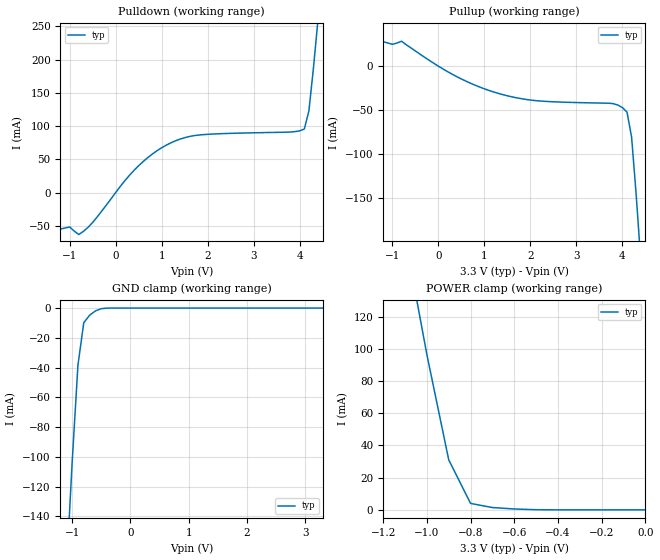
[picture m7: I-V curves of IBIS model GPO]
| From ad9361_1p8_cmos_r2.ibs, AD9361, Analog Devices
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[MODEL] GPO
Model_type 3-state
Polarity Non-Inverting
Cref  =   3.000pF
Rref  =   330Ohm
Vref  =   3.3V
Vmeas =   3.0V
|GPOs are 3.3v only
|   typ   min   max
C_comp   3.000pF   NA   NA
[Voltage Range]   3.300V  NA   NA
[GND Clamp Reference]   0.000V  NA   NA
[POWER Clamp Reference] 3.300V  NA   NA
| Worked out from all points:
|   slope of the pulldown table from 0 to 0.495 V, typ, clamps not added: 12.4 ohm
|   slope of the pullup table from 0 to 0.495 V, typ, clamps not added: 34.3 ohm
|   GND clamp passes 1 mA (typ) near -0.54 V on its own axis
|   POWER clamp passes 1 mA (typ) near -0.65 V on its own axis
[GND Clamp]
| Voltage  I(typ)   I(min)  I(max)
-3.3V     -1.993A    NA         NA
-1.1V     -178.9mA   NA         NA
-1V       -104.3mA   NA         NA
-900mV    -38.43mA   NA         NA
-800mV    -9.876mA   NA         NA
-700mV    -4.829mA   NA         NA
-600mV    -1.924mA   NA         NA
-500mV    -406.8uA   NA         NA
-400mV    -28.84uA   NA         NA
3.3V      30pA       NA         NA
[POWER Clamp]
| Voltage  I(typ)   I(min)  I(max)
-3.3V     1.951A     NA         NA
-1.1V     169.6mA    NA         NA
-1V       96.35mA    NA         NA
-900mV    31.02mA    NA         NA
-800mV    3.979mA    NA         NA
-700mV    1.433mA    NA         NA
-600mV    540.9uA    NA         NA
0V        30pA       NA         NA
[Pulldown]
| Voltage   I(typ)   I(min)   I(max)
-3.3V     -54.91mA   NA         NA
-2V       -60.03mA   NA         NA
-1V       -51.72mA   NA         NA
-800mV    -63.16mA   NA         NA
-500mV    -44.96mA   NA         NA
500mV     40.41mA    NA         NA
1.2V      74.82mA    NA         NA
1.8V      86.51mA    NA         NA
4.1V      95.62mA    NA         NA
4.2V      122.9mA    NA         NA
4.4V      262.2mA    NA         NA
6.6V      2.074A     NA         NA
[Pullup]
|Voltage   I(typ)   I(min)   I(max)
-3.3V     39.8mA     NA         NA
-2.3V     39.36mA    NA         NA
-1V       24.78mA    NA         NA
-800mV    28.29mA    NA         NA
300mV     -9.146mA   NA         NA
1.3V      -30.85mA   NA         NA
3.9V      -44.1mA    NA         NA
4.1V      -52.2mA    NA         NA
4.2V      -80.82mA   NA         NA
4.3V      -146.7mA   NA         NA
4.4V      -221.5mA   NA         NA
6.6V      -2.04A     NA         NA
[Ramp]
|   typ   min   max
dV/dt_r   1.98V/.129ns   NA   NA
dV/dt_f   1.98V/.204ns   NA   NA
R_load=10k
|---end GPO model----------------------------------------------------------
